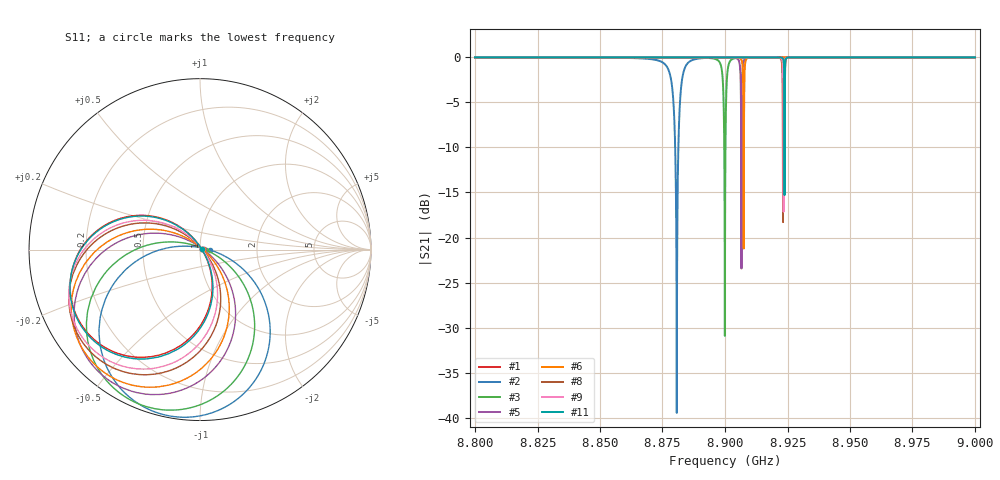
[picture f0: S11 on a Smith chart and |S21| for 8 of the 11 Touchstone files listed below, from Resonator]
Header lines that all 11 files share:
! Sonnet Data File
! From: emgraph Version : 16.52
! From Project: Resonator2_cp
! Data is De-embedded
!< PARAMS
!< END PARAMS
# GHZ S MA R 35.97000
Fixed: Length = 400.0, Pwid1 = 2000.0, Pwid2 = 2000.0
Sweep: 8.8 GHz to 9 GHz
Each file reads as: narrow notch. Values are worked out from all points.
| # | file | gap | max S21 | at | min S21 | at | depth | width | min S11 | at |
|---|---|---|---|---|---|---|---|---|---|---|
| 1 | Oddd_bx3000y7000_p2000_gpn00.s2p | 100.0 | 0.00 dB | 8.9472 GHz | -15.0 dB | 8.9239 GHz | 15.0 dB | 97.3 kHz | -40.2 dB | 8.9452 GHz |
| 2 | Oddd_bx3000y7000_p2000_gpn06.s2p | 6.0 | 0.00 dB | 8.932 GHz | -39.5 dB | 8.8807 GHz | 39.4 dB | 396 kHz | -38.7 dB | 8.9326 GHz |
| 3 | Oddd_bx3000y7000_p2000_gpn16.s2p | 16.0 | 0.00 dB | 8.9297 GHz | -30.9 dB | 8.8999 GHz | 30.9 dB | 245 kHz | -37.8 dB | 8.929 GHz |
| 4 | Oddd_bx3000y7000_p2000_gpn26.s2p | 26.0 | 0.00 dB | 8.9288 GHz | -26.4 dB | 8.9045 GHz | 26.4 dB | 188 kHz | -37.7 dB | 8.9272 GHz |
| 5 | Oddd_bx3000y7000_p2000_gpn36.s2p | 36.0 | 0.00 dB | 8.9284 GHz | -23.4 dB | 8.9066 GHz | 23.4 dB | 158 kHz | -37.8 dB | 8.9266 GHz |
| 6 | Oddd_bx3000y7000_p2000_gpn46.s2p | 46.0 | 0.00 dB | 8.9276 GHz | -21.2 dB | 8.9075 GHz | 21.2 dB | 139 kHz | -38.1 dB | 8.9263 GHz |
| 7 | Oddd_bx3000y7000_p2000_gpn56.s2p | 56.0 | 0.00 dB | 8.9284 GHz | -19.5 dB | 8.9079 GHz | 19.5 dB | 126 kHz | -38.4 dB | 8.9262 GHz |
| 8 | Oddd_bx3000y7000_p2000_gpn66.s2p | 66.0 | 0.00 dB | 8.9476 GHz | -18.3 dB | 8.9232 GHz | 18.3 dB | 118 kHz | -38.8 dB | 8.942 GHz |
| 9 | Oddd_bx3000y7000_p2000_gpn76.s2p | 76.0 | 0.00 dB | 8.9486 GHz | -17.1 dB | 8.9234 GHz | 17.1 dB | 110 kHz | -39.2 dB | 8.9426 GHz |
| 10 | Oddd_bx3000y7000_p2000_gpn86.s2p | 86.0 | 0.00 dB | 8.9454 GHz | -16.1 dB | 8.9237 GHz | 16.1 dB | 105 kHz | -39.6 dB | 8.9432 GHz |
| 11 | Oddd_bx3000y7000_p2000_gpn96.s2p | 96.0 | 0.00 dB | 8.9525 GHz | -15.3 dB | 8.9238 GHz | 15.3 dB | 99.4 kHz | -40.0 dB | 8.9446 GHz |
